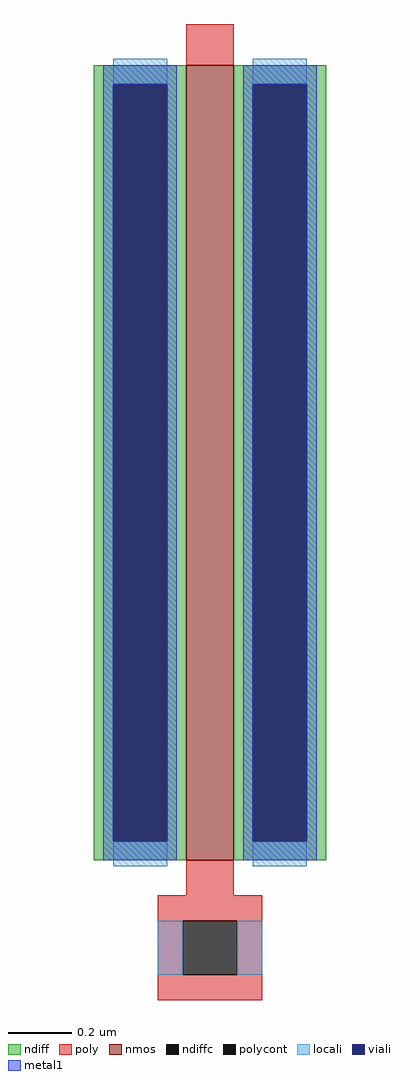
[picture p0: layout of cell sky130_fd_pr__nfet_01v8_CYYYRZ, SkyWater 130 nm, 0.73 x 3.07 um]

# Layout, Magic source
magic
tech sky130A
magscale 1 2
<< nmos >>
rect -15 -219 15 281
<< ndiff >>
rect -73 269 -15 281
rect -73 -207 -61 269
rect -27 -207 -15 269
rect -73 -219 -15 -207
rect 15 269 73 281
rect 15 -207 27 269
rect 61 -207 73 269
rect 15 -219 73 -207
<< ndiffc >>
rect -61 -207 -27 269
rect 27 -207 61 269
<< poly >>
rect -15 281 15 307
rect -15 -241 15 -219
rect -33 -257 33 -241
rect -33 -291 -17 -257
rect 17 -291 33 -257
rect -33 -307 33 -291
<< polycont >>
rect -17 -291 17 -257
<< locali >>
rect -61 269 -27 285
rect -61 -223 -27 -207
rect 27 269 61 285
rect 27 -223 61 -207
rect -33 -291 -17 -257
rect 17 -291 33 -257
<< viali >>
rect -61 -207 -27 269
rect 27 -207 61 269
<< metal1 >>
rect -67 269 -21 281
rect -67 -207 -61 269
rect -27 -207 -21 269
rect -67 -219 -21 -207
rect 21 269 67 281
rect 21 -207 27 269
rect 61 -207 67 269
rect 21 -219 67 -207
<< properties >>
string gencell sky130_fd_pr__nfet_01v8
string library sky130
string parameters w 2.5 l 0.15 m 1 nf 1 diffcov 100 polycov 50 guard 0 glc 1 grc 1 gtc 1 gbc 1 tbcov 100 rlcov 100 topc 0 botc 1 poverlap 0 doverlap 1 lmin 0.15 wmin 0.42 compatible {sky130_fd_pr__nfet_01v8 sky130_fd_pr__nfet_01v8_lvt  sky130_fd_bs_flash__special_sonosfet_star  sky130_fd_pr__nfet_g5v0d10v5 sky130_fd_pr__nfet_05v0_nvt  sky130_fd_pr__nfet_03v3_nvt} full_metal 1 viasrc 100 viadrn 100 viagate 0 viagb 0 viagr 0 viagl 0 viagt 0
<< end >>
